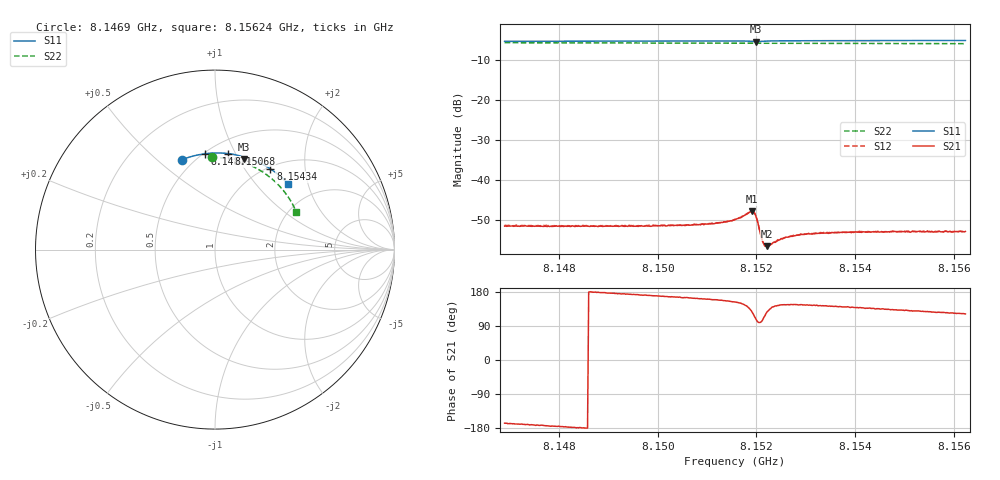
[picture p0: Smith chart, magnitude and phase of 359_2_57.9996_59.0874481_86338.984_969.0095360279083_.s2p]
#  HZ  S  RI  R  50.00
! Rohde & Schwarz Vector Network Analyzer
! Rohde-Schwarz,ZNB20-2Port,1311601062101988,3.16
! Created: UTC 3/21/2024, 1:06:20 AM
! freq[Hz]  re:S11  im:S11  re:S21  im:S21  re:S12  im:S12  re:S22  im:S22
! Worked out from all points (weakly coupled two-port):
!   401 points, 8.1469 GHz to 8.15624 GHz, reference 50 ohm
!   highest |S21| = -47.95 dB at 8.15192 GHz (marker M1); lowest = -56.6 dB at 8.15222 GHz (marker M2)
!   lowest |S11| = -5.5 dB at 8.15199 GHz (marker M3), VSWR 3.26, Z = 37.4 + j52.5 ohm
!   |S11| at or under -10 dB: nowhere
!   |S22| runs from -6.0 to -5.8 dB; largest |S21 - S12| = 0.00012
!   S11 on the Smith chart (normalised r, x): 8.1469 GHz: 0.43, +0.61; 8.14879 GHz: 0.51, +0.76; 8.15068 GHz: 0.62, +0.94; 8.15434 GHz: 1.03, +1.32; 8.15624 GHz: 1.44, +1.51
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8.146899e9  -0.184 0.5007  -0.00256 -0.000604  -0.00266 -0.000566  -0.017 0.5131
8.148463e9  -0.0791 0.5305  -0.00262 -3.62e-05  -0.00267 8.08e-06  0.0846 0.5047
8.14879e9  -0.0566 0.5339  -0.00259 4.84e-05  -0.00264 0.000149  0.1054 0.5004
8.150027e9  0.0294 0.5382  -0.00261 0.000529  -0.00263 0.000555  0.1814 0.4762
8.15068e9  0.0749 0.5348  -0.0026 0.000765  -0.00262 0.000808  0.2197 0.4588
8.15117e9  0.1092 0.5296  -0.00266 0.00103  -0.00266 0.00106  0.2472 0.4438
8.151567e9  0.1372 0.523  -0.00282 0.00143  -0.00284 0.0015  0.2685 0.4303
8.151871e9  0.1588 0.5117  -0.00274 0.00283  -0.00273 0.00287  0.2847 0.4191
8.151917e9  0.1604 0.5085  -0.00234 0.00325  -0.0023 0.00334  0.2869 0.4173
8.151964e9  0.1601 0.506  -0.00157 0.00347  -0.00153 0.00354  0.2891 0.4156
8.151987e9  0.1594 0.5055  -0.00114 0.00337  -0.00113 0.0034  0.2903 0.4148
8.152011e9  0.1588 0.5058  -0.000753 0.00312  -0.000701 0.00314  0.2913 0.4139
8.152127e9  0.164 0.5105  -0.000463 0.00162  -0.000447 0.00164  0.2974 0.4098
8.152174e9  0.1677 0.5113  -0.000666 0.00132  -0.000666 0.00133  0.2996 0.408
8.152221e9  0.1717 0.5112  -0.000899 0.00117  -0.000916 0.0012  0.3021 0.4061
8.152548e9  0.1961 0.5056  -0.00154 0.00105  -0.0015 0.00106  0.3183 0.3932
8.152921e9  0.2211 0.4962  -0.00172 0.00116  -0.00169 0.00119  0.3359 0.3774
8.153131e9  0.2347 0.4904  -0.00169 0.00123  -0.00172 0.00124  0.3454 0.3683
8.153341e9  0.2481 0.4842  -0.00172 0.00128  -0.00171 0.00131  0.3547 0.3587
8.154345e9  0.3085 0.4499  -0.00161 0.00155  -0.00159 0.00159  0.3954 0.3106
8.154695e9  0.3284 0.4363  -0.00153 0.00162  -0.00153 0.00163  0.4081 0.2927
8.156235e9  0.4077 0.366  -0.00118 0.00192  -0.00118 0.00195  0.4538 0.2087
